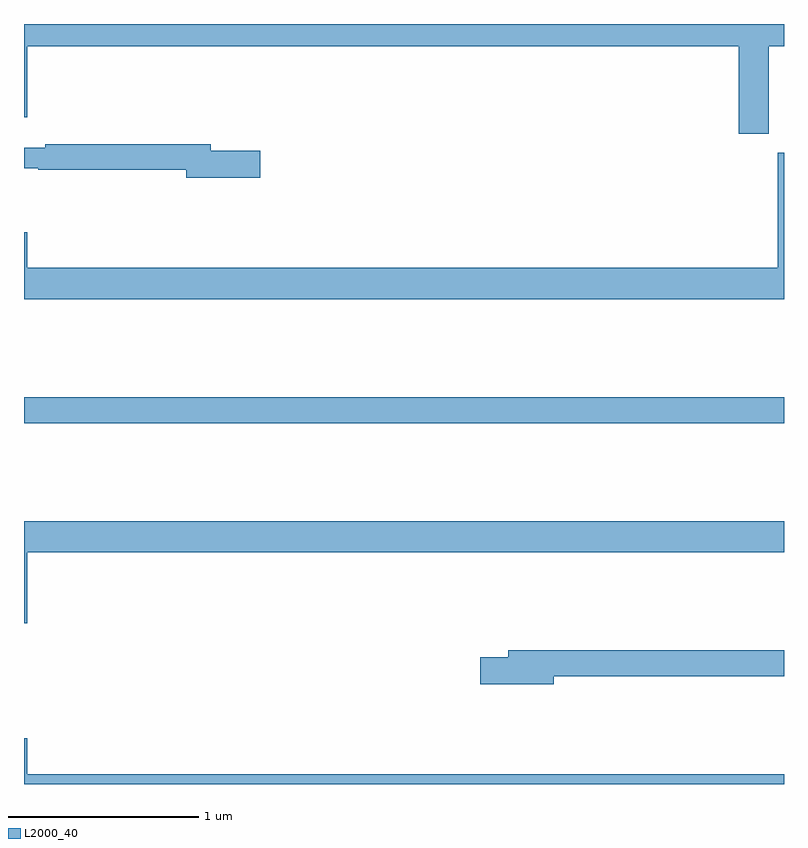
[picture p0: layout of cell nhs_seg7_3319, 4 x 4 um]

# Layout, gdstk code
import gdstk
lib = gdstk.Library(unit=1e-6, precision=1e-09)
def R(c, l, rs):  # rectangles x0, y0, x1, y1
    for r in rs: c.add(gdstk.rectangle(r[:2], r[2:], *l))
def P(c, l, *ps):  # polygons
    for p in ps: c.add(gdstk.Polygon(p, *l))
L2000_40 = (2000, 40)

nhs_seg7_3319 = lib.new_cell('nhs_seg7_3319')
R(nhs_seg7_3319, L2000_40, [(321,1063.9,325,1064.036)])
P(nhs_seg7_3319, L2000_40, [(324.921,1065.884),(325,1065.884),(325,1066),(321,1066),(321,1065.51),(321.016,1065.51),(321.016,1065.884),(324.761,1065.884),(324.761,1065.423),(324.921,1065.423)],
  [(322.243,1065.332),(321.982,1065.332),(321.982,1065.368),(321.112,1065.368),(321.112,1065.349),(321,1065.349),(321,1065.24),(321.076,1065.24),(321.076,1065.232),(321.854,1065.232),(321.854,1065.19),(322.243,1065.19)],
  [(325,1065.322),(324.968,1065.322),(324.968,1064.716),(321.016,1064.716),(321.016,1064.905),(321,1064.905),(321,1064.552),(325,1064.552)],
  [(321.016,1063.22),(325,1063.22),(325,1063.384),(321,1063.384),(321,1062.846),(321.016,1062.846)],
  [(323.788,1062.568),(325,1062.568),(325,1062.704),(323.549,1062.704),(323.549,1062.668),(323.4,1062.668),(323.4,1062.526),(323.788,1062.526)],
  [(325,1062.052),(321.016,1062.052),(321.016,1062.241),(321,1062.241),(321,1062),(325,1062)])

lib.write_gds('nhs_seg7_3319.gds')
